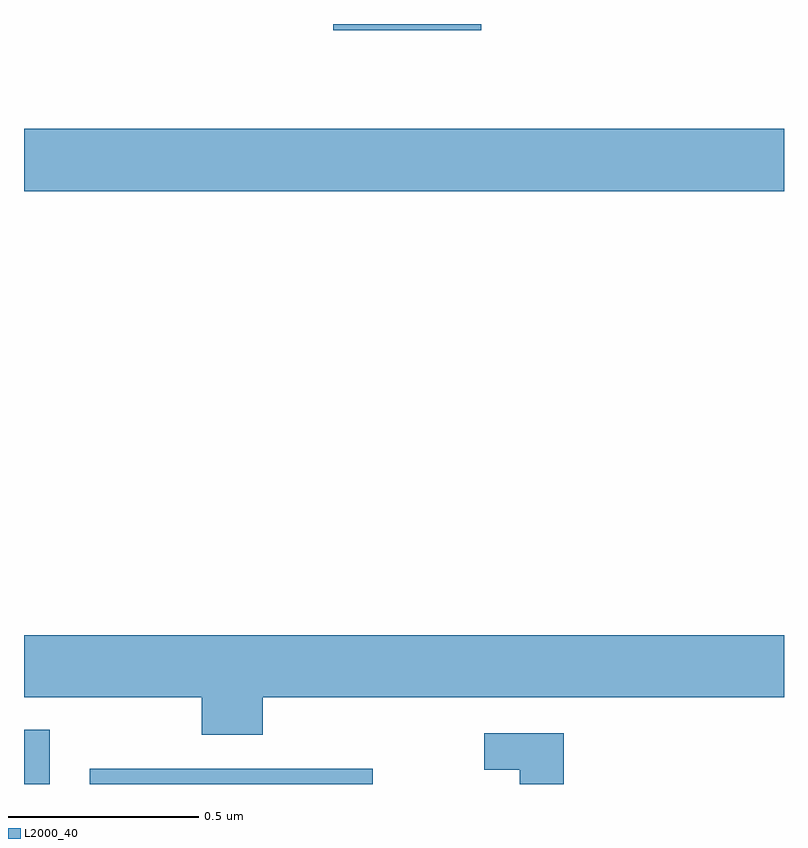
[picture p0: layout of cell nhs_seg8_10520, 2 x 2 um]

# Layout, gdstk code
import gdstk
lib = gdstk.Library(unit=1e-6, precision=1e-09)
def R(c, l, rs):  # rectangles x0, y0, x1, y1
    for r in rs: c.add(gdstk.rectangle(r[:2], r[2:], *l))
def P(c, l, *ps):  # polygons
    for p in ps: c.add(gdstk.Polygon(p, *l))
L2000_40 = (2000, 40)

nhs_seg8_10520 = lib.new_cell('nhs_seg8_10520')
R(nhs_seg8_10520, L2000_40, [(250,1154.9,250.068,1155.043), (250.173,1154.9,250.918,1154.94), (250,1156.46,252,1156.624), (250.814,1156.883,251.203,1156.9)])
P(nhs_seg8_10520, L2000_40, [(250.628,1155.128),(252,1155.128),(252,1155.292),(250,1155.292),(250,1155.128),(250.468,1155.128),(250.468,1155.029),(250.628,1155.029)],
  [(251.42,1155.033),(251.211,1155.033),(251.211,1154.937),(251.304,1154.937),(251.304,1154.9),(251.42,1154.9)])

lib.write_gds('nhs_seg8_10520.gds')
